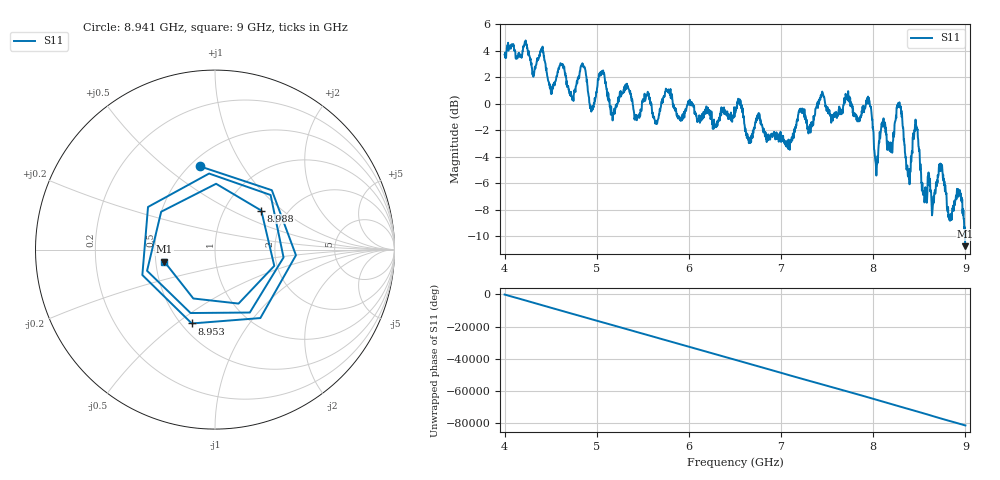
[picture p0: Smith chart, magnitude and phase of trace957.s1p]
! Created with skrf 1.8.0 (http://scikit-rf.org).
# Hz S RI R 50.0
!freq ReS11 ImS11
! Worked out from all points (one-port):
!   1601 points, 4 GHz to 9 GHz, reference 50 ohm
!   lowest |S11| = -10.8 dB at 9 GHz (marker M1), VSWR 1.82, Z = 27.8 - j4.13 ohm
!   |S11| at or under -10 dB: 8.995149 GHz to end of sweep
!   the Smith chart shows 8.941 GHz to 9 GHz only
!   S11 on the Smith chart (normalised r, x): 8.941 GHz: 0.56, +0.67; 8.953 GHz: 0.56, -0.57; 8.988 GHz: 1.48, +0.73; 9 GHz: 0.56, -0.08
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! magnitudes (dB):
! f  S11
! 4 GHz  3.7
! 4.403 GHz  4.1
! 4.509 GHz  0.8
! 4.625 GHz  3.0
! 4.728 GHz  0.5
! 4.853 GHz  2.8
! 4.944 GHz  -0.5
! 5.05 GHz  2.3
! 5.169 GHz  -0.9
! 5.25 GHz  0.8
! 5.875 GHz  -1.0
! 6.5 GHz  -0.4
! 6.653 GHz  -2.8
! 7.125 GHz  -2.6
! 7.441 GHz  0.7
! 7.75 GHz  0.4
! 7.956 GHz  0.2
! 8.034 GHz  -5.4
! 8.281 GHz  -0.1
! 8.375 GHz  -5.4
! 8.459 GHz  -1.2
! 8.562 GHz  -6.8
! 8.734 GHz  -4.6
! 8.825 GHz  -8.6
! 8.941 GHz  -6.5
! 8.953 GHz  -7.3
! 8.988 GHz  -9.4
! 9 GHz  -10.8
